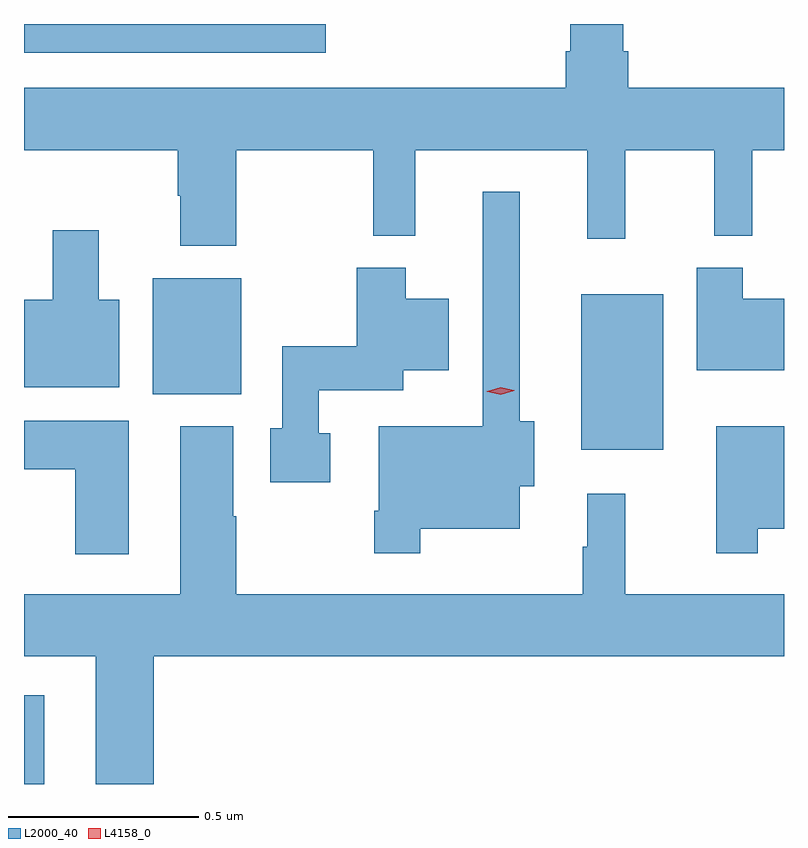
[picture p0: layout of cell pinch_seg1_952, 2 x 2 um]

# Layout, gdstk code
import gdstk
lib = gdstk.Library(unit=1e-6, precision=1e-09)
def R(c, l, rs):  # rectangles x0, y0, x1, y1
    for r in rs: c.add(gdstk.rectangle(r[:2], r[2:], *l))
def P(c, l, *ps):  # polygons
    for p in ps: c.add(gdstk.Polygon(p, *l))
L2000_40 = (2000, 40)
L4158_0 = (4158, 0)

pinch_seg1_952 = lib.new_cell('pinch_seg1_952')
R(pinch_seg1_952, L2000_40, [(240.842,530.084,240.895,530.317), (242.309,530.963,242.524,531.373), (241.181,531.11,241.414,531.415), (240.842,532.008,241.636,532.084)])
P(pinch_seg1_952, L2000_40, [(241.401,531.752),(241.761,531.752),(241.761,531.527),(241.871,531.527),(241.871,531.752),(242.324,531.752),(242.324,531.519),(242.424,531.519),(242.424,531.752),(242.659,531.752),(242.659,531.527),(242.759,531.527),(242.759,531.752),(242.842,531.752),(242.842,531.916),(242.432,531.916),(242.432,532.012),(242.419,532.012),(242.419,532.084),(242.279,532.084),(242.279,532.012),(242.267,532.012),(242.267,531.916),(240.842,531.916),(240.842,531.752),(241.246,531.752),(241.246,531.632),(241.253,531.632),(241.253,531.5),(241.401,531.5)],
  [(241.885,530.756),(242.146,530.756),(242.146,530.867),(242.185,530.867),(242.185,531.038),(242.146,531.038),(242.146,531.643),(242.049,531.643),(242.049,531.025),(241.776,531.025),(241.776,530.803),(241.764,530.803),(241.764,530.691),(241.885,530.691)],
  [(241.093,531.358),(241.039,531.358),(241.039,531.541),(240.917,531.541),(240.917,531.358),(240.842,531.358),(240.842,531.128),(241.093,531.128)],
  [(242.842,531.361),(242.734,531.361),(242.734,531.442),(242.612,531.442),(242.612,531.173),(242.842,531.173)],
  [(241.648,531.007),(241.618,531.007),(241.618,531.12),(241.84,531.12),(241.84,531.173),(241.96,531.173),(241.96,531.361),(241.846,531.361),(241.846,531.442),(241.717,531.442),(241.717,531.236),(241.521,531.236),(241.521,531.02),(241.49,531.02),(241.49,530.878),(241.648,530.878)],
  [(241.117,531.04),(240.842,531.04),(240.842,530.912),(240.977,530.912),(240.977,530.688),(241.117,530.688)],
  [(241.184,530.42),(242.842,530.42),(242.842,530.584),(242.424,530.584),(242.424,530.848),(242.324,530.848),(242.324,530.708),(242.313,530.708),(242.313,530.584),(241.401,530.584),(241.401,530.789),(241.393,530.789),(241.393,531.025),(241.253,531.025),(241.253,530.584),(240.842,530.584),(240.842,530.42),(241.031,530.42),(241.031,530.084),(241.184,530.084)],
  [(242.773,530.756),(242.842,530.756),(242.842,531.025),(242.664,531.025),(242.664,530.691),(242.773,530.691)])
P(pinch_seg1_952, L4158_0, [(242.096,531.108),(242.061,531.116),(242.06,531.117),(242.061,531.117),(242.096,531.128),(242.132,531.12),(242.132,531.119),(242.132,531.119)])

lib.write_gds('pinch_seg1_952.gds')
